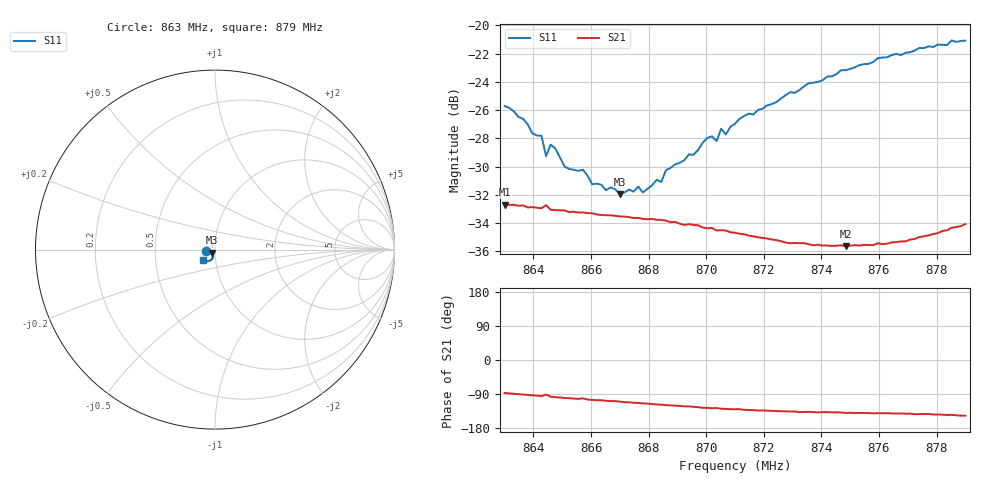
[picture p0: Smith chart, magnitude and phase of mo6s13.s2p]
# HZ S RI R 50
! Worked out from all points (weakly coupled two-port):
!   101 points, 863 MHz to 879 MHz, reference 50 ohm
!   highest |S21| = -32.70 dB at 863 MHz (marker M1); lowest = -35.6 dB at 874.84 MHz (marker M2)
!   lowest |S11| = -31.9 dB at 867 MHz (marker M3), VSWR 1.05, Z = 48.1 - j1.65 ohm
!   |S11| at or under -10 dB: start of sweep to end of sweep
!   S12 and S22 are empty: the file has one direction only
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8.63e8  -0.0509 -0.01  0.00128 -0.0231  0 0  0 0
8.6364e8  -0.0458 -0.00928  -0.000446 -0.0231  0 0  0 0
8.6396e8  -0.0405 -0.00917  -0.00132 -0.0227  0 0  0 0
8.6428e8  -0.0389 -0.0117  -0.00211 -0.0224  0 0  0 0
8.6444e8  -0.0336 -0.00769  -0.000488 -0.0231  0 0  0 0
8.646e8  -0.0366 -0.00958  -0.0027 -0.0221  0 0  0 0
8.6508e8  -0.0301 -0.00986  -0.0039 -0.0218  0 0  0 0
8.6572e8  -0.0295 -0.009  -0.00421 -0.0214  0 0  0 0
8.6604e8  -0.0238 -0.0135  -0.00569 -0.0209  0 0  0 0
8.67e8  -0.0186 -0.0171  -0.00713 -0.0198  0 0  0 0
8.6764e8  -0.0164 -0.0213  -0.00823 -0.0191  0 0  0 0
8.678e8  -0.0144 -0.0212  -0.00857 -0.0188  0 0  0 0
8.6844e8  -0.0118 -0.0253  -0.0096 -0.0181  0 0  0 0
8.686e8  -0.0119 -0.0283  -0.00994 -0.0178  0 0  0 0
8.7004e8  -0.0123 -0.038  -0.0113 -0.0154  0 0  0 0
8.7036e8  -0.00971 -0.0377  -0.0112 -0.0151  0 0  0 0
8.7052e8  -0.0118 -0.0414  -0.0117 -0.0147  0 0  0 0
8.71e8  -0.012 -0.0432  -0.0119 -0.0141  0 0  0 0
8.7372e8  -0.0213 -0.059  -0.0123 -0.0113  0 0  0 0
8.7484e8  -0.0304 -0.0624  -0.0126 -0.0107  0 0  0 0
8.7644e8  -0.0447 -0.0644  -0.0133 -0.0107  0 0  0 0
8.79e8  -0.0665 -0.0582  -0.0166 -0.0108  0 0  0 0
